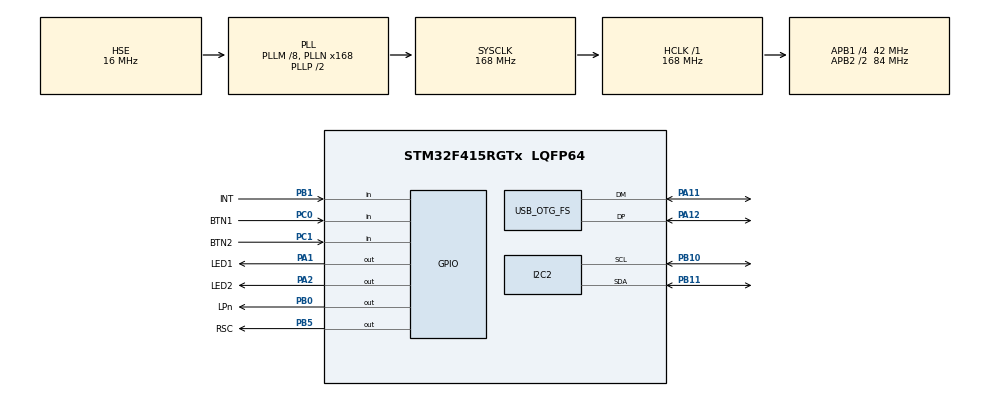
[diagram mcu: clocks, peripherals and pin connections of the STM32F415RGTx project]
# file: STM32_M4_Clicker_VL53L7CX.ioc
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I2C2.I2C_Mode=I2C_Fast
Mcu.Family=STM32F4
Mcu.Name=STM32F415RGTx
Mcu.Package=LQFP64
NVIC.OTG_FS_IRQn=true\:0\:0\:false\:false\:true\:false\:true\:true
NVIC.PriorityGroup=NVIC_PRIORITYGROUP_4
PA1.GPIO_Label=LED1
PA1.PinState=GPIO_PIN_RESET
PA1.Signal=GPIO_Output
PA11.Mode=Device_Only
PA11.Signal=USB_OTG_FS_DM
PA12.Mode=Device_Only
PA12.Signal=USB_OTG_FS_DP
PA2.GPIO_Label=LED2
PA2.PinState=GPIO_PIN_RESET
PA2.Signal=GPIO_Output
PB0.GPIO_Label=LPn
PB0.Signal=GPIO_Output
PB1.GPIO_Label=INT
PB1.Signal=GPIO_Input
PB10.Mode=I2C
PB10.Signal=I2C2_SCL
PB11.Mode=I2C
PB11.Signal=I2C2_SDA
PB5.GPIO_Label=RSC
PB5.Signal=GPIO_Output
PC0.GPIO_Label=BTN1
PC0.Signal=GPIO_Input
PC1.GPIO_Label=BTN2
PC1.Signal=GPIO_Input
PH0-OSC_IN.Mode=HSE-External-Oscillator
PH0-OSC_IN.Signal=RCC_OSC_IN
PH1-OSC_OUT.Mode=HSE-External-Oscillator
PH1-OSC_OUT.Signal=RCC_OSC_OUT
ProjectManager.HeapSize=0x200
ProjectManager.StackSize=0x400
ProjectManager.TargetToolchain=STM32CubeIDE
RCC.48MHZClocksFreq_Value=48000000
RCC.AHBFreq_Value=168000000
RCC.APB1CLKDivider=RCC_HCLK_DIV4
RCC.APB1Freq_Value=42000000
RCC.APB1TimFreq_Value=84000000
RCC.APB2CLKDivider=RCC_HCLK_DIV2
RCC.APB2Freq_Value=84000000
RCC.APB2TimFreq_Value=168000000
RCC.CortexFreq_Value=168000000
RCC.HCLKFreq_Value=168000000
RCC.HSE_VALUE=16000000
RCC.HSI_VALUE=16000000
RCC.LSE_VALUE=32768
RCC.PLLM=8
RCC.PLLN=168
RCC.PLLQ=7
RCC.SYSCLKFreq_VALUE=168000000
RCC.SYSCLKSource=RCC_SYSCLKSOURCE_PLLCLK
RCC.VCOOutputFreq_Value=336000000
USB_DEVICE.CLASS_NAME_FS=CDC
USB_DEVICE.VirtualMode-CDC_FS=Cdc
USB_DEVICE.VirtualModeFS=Cdc_FS
USB_OTG_FS.VirtualMode=Device_Only
VP_USB_DEVICE_VS_USB_DEVICE_CDC_FS.Mode=CDC_FS
board=custom

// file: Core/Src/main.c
/* USER CODE BEGIN Header */
/**
  ******************************************************************************
  * @file           : main.c
  * @brief          : Main program body
  ******************************************************************************
  * @attention
  *
  * Copyright (c) 2023 STMicroelectronics.
  * All rights reserved.
  *
  * This software is licensed under terms that can be found in the LICENSE file
  * in the root directory of this software component.
  * If no LICENSE file comes with this software, it is provided AS-IS.
  *
  ******************************************************************************
  */
/* USER CODE END Header */
#include "main.h"
#include "usb_device.h"

/* USER CODE BEGIN Includes */
#include "usbd_cdc_if.h"
#include <string.h>
#include "vl53l7cx_api.h"
/* USER CODE END Includes */

/* USER CODE BEGIN PD */
#define LED1_ON()	HAL_GPIO_WritePin(LED1_GPIO_Port, LED1_Pin, GPIO_PIN_SET)
#define LED1_OFF()	HAL_GPIO_WritePin(LED1_GPIO_Port, LED1_Pin, GPIO_PIN_RESET)
#define LED2_ON()	HAL_GPIO_WritePin(LED2_GPIO_Port, LED2_Pin, GPIO_PIN_SET)
#define LED2_OFF()	HAL_GPIO_WritePin(LED2_GPIO_Port, LED2_Pin, GPIO_PIN_RESET)

#define BTN1()	HAL_GPIO_ReadPin(BTN1_GPIO_Port, BTN1_Pin)
#define BTN2()	HAL_GPIO_ReadPin(BTN2_GPIO_Port, BTN2_Pin)
#define INT_PIN()	HAL_GPIO_ReadPin(INT_GPIO_Port, INT_Pin)
/* USER CODE END PD */

I2C_HandleTypeDef hi2c2;

/* USER CODE BEGIN PV */

extern uint8_t UserRxBufferFS[256];

int status;
VL53L7CX_Configuration 	Dev;
VL53L7CX_ResultsData 	Results;

uint8_t resolution=64, ranging_frequency=10, sharpener_percent=50;
uint16_t integration_time=20;
uint8_t data_to_transfer=0;
uint8_t isAlive;

char data[260];

/* USER CODE END PV */

void SystemClock_Config(void);
static void MX_GPIO_Init(void);
static void MX_I2C2_Init(void);

int main(void)
{

  /* MCU Configuration--------------------------------------------------------*/

  /* Reset of all peripherals, Initializes the Flash interface and the Systick. */
  HAL_Init();

  /* Configure the system clock */
  SystemClock_Config();

  /* Initialize all configured peripherals */
  MX_GPIO_Init();
  MX_I2C2_Init();
  MX_USB_DEVICE_Init();
  /* USER CODE BEGIN 2 */

  //configure platform
  Dev.platform.i2c = hi2c2;
  Dev.platform.address = VL53L7CX_DEFAULT_I2C_ADDRESS;
  Dev.platform.rsc_io.port_name=GPIOB;
  Dev.platform.rsc_io.pin_number=GPIO_PIN_5;
  Dev.platform.lpn_io.port_name=GPIOB;
  Dev.platform.lpn_io.pin_number=GPIO_PIN_0;
  Dev.platform.int_io.port_name=GPIOB;
  Dev.platform.int_io.pin_number=GPIO_PIN_1;

  status = vl53l7cx_resetSensor(&Dev.platform);
  status += vl53l7cx_enableLP(&Dev.platform);
  status += vl53l7cx_is_alive(&Dev, &isAlive);

  if(!isAlive) LED1_OFF();
  else LED1_ON();

  status += vl53l7cx_init(&Dev);
  status += vl53l7cx_set_ranging_mode(&Dev, VL53L7CX_RANGING_MODE_AUTONOMOUS);
  status += vl53l7cx_set_resolution(&Dev, VL53L7CX_RESOLUTION_8X8);
  status += vl53l7cx_set_ranging_frequency_hz(&Dev, 10);
  status += vl53l7cx_set_integration_time_ms(&Dev, 20);
  status += vl53l7cx_set_sharpener_percent(&Dev, 0);
  status += vl53l7cx_start_ranging(&Dev);

  if(status)LED2_OFF();
  else LED2_ON();

  HAL_Delay(1000);
  /* USER CODE END 2 */

  /* Infinite loop */
  while (1)
  {

    /* USER CODE BEGIN 3 */

	  //data transfer
	  if(UserRxBufferFS[0]!=0)
	  {

		  //set
		  if((UserRxBufferFS[0]=='S')&&(UserRxBufferFS[1]=='E')&&(UserRxBufferFS[2]=='T'))
		  {
			  LED2_OFF();

			  resolution=UserRxBufferFS[3];
			  ranging_frequency=UserRxBufferFS[4];
			  integration_time=UserRxBufferFS[5]<<8;
			  integration_time+=UserRxBufferFS[6];
			  sharpener_percent=UserRxBufferFS[7];
			  data_to_transfer=UserRxBufferFS[8];

			  vl53l7cx_stop_ranging(&Dev);
			  vl53l7cx_set_resolution(&Dev, resolution);
			  vl53l7cx_set_ranging_frequency_hz(&Dev, ranging_frequency);
			  vl53l7cx_set_integration_time_ms(&Dev, integration_time);
			  vl53l7cx_set_sharpener_percent(&Dev, sharpener_percent);
			  vl53l7cx_start_ranging(&Dev);

			  LED2_ON();
		  }
		  //get
		  if((UserRxBufferFS[0]=='G')&&(UserRxBufferFS[1]=='E')&&(UserRxBufferFS[2]=='T'))
		  {
				CDC_Transmit_FS((uint8_t*)data,resolution*3+1);
				HAL_Delay(1);
		  }
		  UserRxBufferFS[0]=0;
	  }

	  //sensor readout
	  if(!vl53l7cx_getINTstatus(&Dev.platform))
	  {
			LED1_ON();

			status = vl53l7cx_get_resolution(&Dev, &resolution);
			status = vl53l7cx_get_ranging_data(&Dev, &Results);

			int j=0;
			for(int i = 0; i < resolution;i++)
			{
				j=i*3;
				switch(data_to_transfer)
				{
					case 0:	//distance
						data[j+0]=0;
						data[j+1]=Results.distance_mm[i]>>8;
						data[j+2]=Results.distance_mm[i]&0xFF;
						break;
					case 1: //sigma
						data[j+0]=0;
						data[j+1]=Results.range_sigma_mm[i]>>8;
						data[j+2]=Results.range_sigma_mm[i]&0xFF;
						break;
					case 2: //reflectance
						data[j+0]=0;
						data[j+1]=0;
						data[j+2]=Results.reflectance[i]&0xFF;
						break;
					case 3: //target status
						data[j+0]=0;
						data[j+1]=0;
						data[j+2]=Results.target_status[i]&0xFF;
						break;
					case 4: //num of targets detected
						data[j+0]=0;
						data[j+1]=0;
						data[j+2]=Results.nb_target_detected[i]&0xFF;
						break;
					case 5: //signal per spad
						data[j+0]=Results.signal_per_spad[i]>>16;
						data[j+1]=Results.signal_per_spad[i]>>8;
						data[j+2]=Results.signal_per_spad[i]&0xFF;
						break;
					case 6: //ambient per spad
						data[j+0]=Results.ambient_per_spad[i]>>16;
						data[j+1]=Results.ambient_per_spad[i]>>8;
						data[j+2]=Results.ambient_per_spad[i]&0xFF;
						break;
					case 7: //num of spads
						data[j+0]=Results.nb_spads_enabled[i]>>16;
						data[j+1]=Results.nb_spads_enabled[i]>>8;
						data[j+2]=Results.nb_spads_enabled[i]&0xFF;
						break;
					case 8://motion
						//To be implemented
						break;

				}
			}
			data[j+3]=Results.silicon_temp_degc;
	  }
	  else LED1_OFF();

  }
  /* USER CODE END 3 */
}

void SystemClock_Config(void)
{
  RCC_OscInitTypeDef RCC_OscInitStruct = {0};
  RCC_ClkInitTypeDef RCC_ClkInitStruct = {0};

  /** Configure the main internal regulator output voltage
  */
  __HAL_RCC_PWR_CLK_ENABLE();
  __HAL_PWR_VOLTAGESCALING_CONFIG(PWR_REGULATOR_VOLTAGE_SCALE1);

  /** Initializes the RCC Oscillators according to the specified parameters
  * in the RCC_OscInitTypeDef structure.
  */
  RCC_OscInitStruct.OscillatorType = RCC_OSCILLATORTYPE_HSE;
  RCC_OscInitStruct.HSEState = RCC_HSE_ON;
  RCC_OscInitStruct.PLL.PLLState = RCC_PLL_ON;
  RCC_OscInitStruct.PLL.PLLSource = RCC_PLLSOURCE_HSE;
  RCC_OscInitStruct.PLL.PLLM = 8;
  RCC_OscInitStruct.PLL.PLLN = 168;
  RCC_OscInitStruct.PLL.PLLP = RCC_PLLP_DIV2;
  RCC_OscInitStruct.PLL.PLLQ = 7;
  if (HAL_RCC_OscConfig(&RCC_OscInitStruct) != HAL_OK)
  {
    Error_Handler();
  }

  /** Initializes the CPU, AHB and APB buses clocks
  */
  RCC_ClkInitStruct.ClockType = RCC_CLOCKTYPE_HCLK|RCC_CLOCKTYPE_SYSCLK
                              |RCC_CLOCKTYPE_PCLK1|RCC_CLOCKTYPE_PCLK2;
  RCC_ClkInitStruct.SYSCLKSource = RCC_SYSCLKSOURCE_PLLCLK;
  RCC_ClkInitStruct.AHBCLKDivider = RCC_SYSCLK_DIV1;
  RCC_ClkInitStruct.APB1CLKDivider = RCC_HCLK_DIV4;
  RCC_ClkInitStruct.APB2CLKDivider = RCC_HCLK_DIV2;

  if (HAL_RCC_ClockConfig(&RCC_ClkInitStruct, FLASH_LATENCY_5) != HAL_OK)
  {
    Error_Handler();
  }
}

static void MX_I2C2_Init(void)
{

  hi2c2.Instance = I2C2;
  hi2c2.Init.ClockSpeed = 400000;
  hi2c2.Init.DutyCycle = I2C_DUTYCYCLE_2;
  hi2c2.Init.OwnAddress1 = 0;
  hi2c2.Init.AddressingMode = I2C_ADDRESSINGMODE_7BIT;
  hi2c2.Init.DualAddressMode = I2C_DUALADDRESS_DISABLE;
  hi2c2.Init.OwnAddress2 = 0;
  hi2c2.Init.GeneralCallMode = I2C_GENERALCALL_DISABLE;
  hi2c2.Init.NoStretchMode = I2C_NOSTRETCH_DISABLE;
  if (HAL_I2C_Init(&hi2c2) != HAL_OK)
  {
    Error_Handler();
  }

}

static void MX_GPIO_Init(void)
{
  GPIO_InitTypeDef GPIO_InitStruct = {0};

  /* GPIO Ports Clock Enable */
  __HAL_RCC_GPIOH_CLK_ENABLE();
  __HAL_RCC_GPIOC_CLK_ENABLE();
  __HAL_RCC_GPIOA_CLK_ENABLE();
  __HAL_RCC_GPIOB_CLK_ENABLE();

  /*Configure GPIO pin Output Level */
  HAL_GPIO_WritePin(GPIOA, LED1_Pin|LED2_Pin, GPIO_PIN_RESET);

  /*Configure GPIO pin Output Level */
  HAL_GPIO_WritePin(GPIOB, LPn_Pin|RSC_Pin, GPIO_PIN_RESET);

  /*Configure GPIO pins : BTN1_Pin BTN2_Pin */
  GPIO_InitStruct.Pin = BTN1_Pin|BTN2_Pin;
  GPIO_InitStruct.Mode = GPIO_MODE_INPUT;
  GPIO_InitStruct.Pull = GPIO_NOPULL;
  HAL_GPIO_Init(GPIOC, &GPIO_InitStruct);

  /*Configure GPIO pins : LED1_Pin LED2_Pin */
  GPIO_InitStruct.Pin = LED1_Pin|LED2_Pin;
  GPIO_InitStruct.Mode = GPIO_MODE_OUTPUT_PP;
  GPIO_InitStruct.Pull = GPIO_NOPULL;
  GPIO_InitStruct.Speed = GPIO_SPEED_FREQ_LOW;
  HAL_GPIO_Init(GPIOA, &GPIO_InitStruct);

  /*Configure GPIO pins : LPn_Pin RSC_Pin */
  GPIO_InitStruct.Pin = LPn_Pin|RSC_Pin;
  GPIO_InitStruct.Mode = GPIO_MODE_OUTPUT_PP;
  GPIO_InitStruct.Pull = GPIO_NOPULL;
  GPIO_InitStruct.Speed = GPIO_SPEED_FREQ_LOW;
  HAL_GPIO_Init(GPIOB, &GPIO_InitStruct);

  /*Configure GPIO pin : INT_Pin */
  GPIO_InitStruct.Pin = INT_Pin;
  GPIO_InitStruct.Mode = GPIO_MODE_INPUT;
  GPIO_InitStruct.Pull = GPIO_NOPULL;
  HAL_GPIO_Init(INT_GPIO_Port, &GPIO_InitStruct);

}

void Error_Handler(void)
{
  __disable_irq();
  while (1)
  {
  }
}
